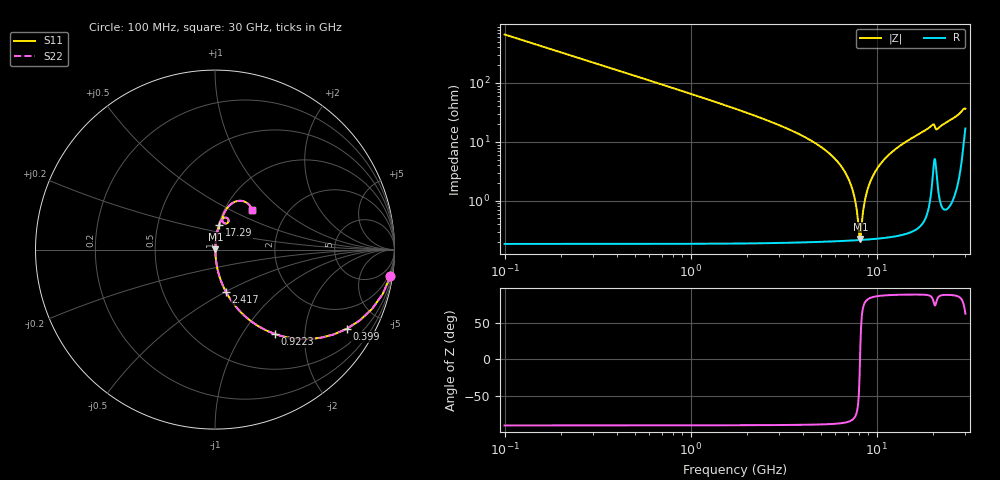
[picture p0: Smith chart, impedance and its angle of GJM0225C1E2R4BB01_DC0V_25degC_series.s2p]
!Murata Part Number: GJM0225C1E2R4BB01
!These Parameters are Measured in Series Mode Connection
!  o--ll--o
!Port1  Port2
!  o------o
!Operation Temp=25[degC], DC Bias Voltage=0[V]
!Freq. Start=100[MHz] Stop=30[GHz], 401[Steps]
!Data Generated on Feb 1, 2023
# Hz S RI R 50
!Freq.(Hz) S11(Real) S11(Imag) S21(Real) S21(Imag) S12(Real) S12(Imag) S22(Real) S22(Imag)
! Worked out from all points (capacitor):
!   401 points, 100 MHz to 30 GHz, reference 50 ohm
!   read as one part in series: C = 2.4 pF near 249.5 MHz
!   lowest |Z| = 225 mohm at 8.173 GHz (marker M1)
!   series resonance near 8.14 GHz, so ESL is about 160 pH
!   S11 on the Smith chart (normalised r, x): 100 MHz: 1, -13; 399 MHz: 1.00, -3.32; 922.2 MHz: 1.00, -1.42; 2.417 GHz: 1.00, -0.50; 17.29 GHz: 1.01, +0.28; 30 GHz: 1.34, +0.65
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1e8  0.9777 -0.1475  0.0223 0.1475  0.0223 0.1475  0.9777 -0.1475
3.99e8  0.733 -0.4418  0.267 0.4418  0.267 0.4418  0.733 -0.4418
9.2225e8  0.3355 -0.4708  0.6645 0.4708  0.6645 0.4708  0.3355 -0.4708
1.52025e9  0.1517 -0.3565  0.8483 0.3565  0.8483 0.3565  0.1517 -0.3565
2.41725e9  0.0605 -0.2346  0.9395 0.2346  0.9395 0.2346  0.0605 -0.2346
5.10825e9  0.00815 -0.078  0.9919 0.078  0.9919 0.078  0.00815 -0.078
6.30425e9  0.00383 -0.042  0.9962 0.042  0.9962 0.042  0.00383 -0.042
7.1265e9  0.00257 -0.0217  0.9974 0.0217  0.9974 0.0217  0.00257 -0.0217
7.575e9  0.00226 -0.0117  0.9977 0.0117  0.9977 0.0117  0.00226 -0.0117
8.0235e9  0.00215 -0.00236  0.9979 0.00236  0.9979 0.00236  0.00215 -0.00236
8.173e9  0.00215 0.000653  0.9978 -0.000653  0.9978 -0.000653  0.00215 0.000653
8.54675e9  0.00223 0.00795  0.9978 -0.00795  0.9978 -0.00795  0.00223 0.00795
8.84575e9  0.00237 0.0136  0.9976 -0.0136  0.9976 -0.0136  0.00237 0.0136
9.369e9  0.00275 0.023  0.9972 -0.023  0.9972 -0.023  0.00275 0.023
1.01165e10  0.00355 0.0358  0.9964 -0.0358  0.9964 -0.0358  0.00355 0.0358
1.206e10  0.00682 0.0661  0.9932 -0.0661  0.9932 -0.0661  0.00682 0.0661
1.505e10  0.0147 0.1078  0.9853 -0.1078  0.9853 -0.1078  0.0147 0.1078
1.72925e10  0.0233 0.138  0.9767 -0.138  0.9767 -0.138  0.0233 0.138
2.005825e10  0.0606 0.1782  0.9394 -0.1782  0.9394 -0.1782  0.0606 0.1782
2.103e10  0.0494 0.1483  0.9506 -0.1483  0.9506 -0.1483  0.0494 0.1483
2.50665e10  0.0605 0.2207  0.9395 -0.2207  0.9395 -0.2207  0.0605 0.2207
3e10  0.2047 0.2198  0.7953 -0.2198  0.7953 -0.2198  0.2047 0.2198
